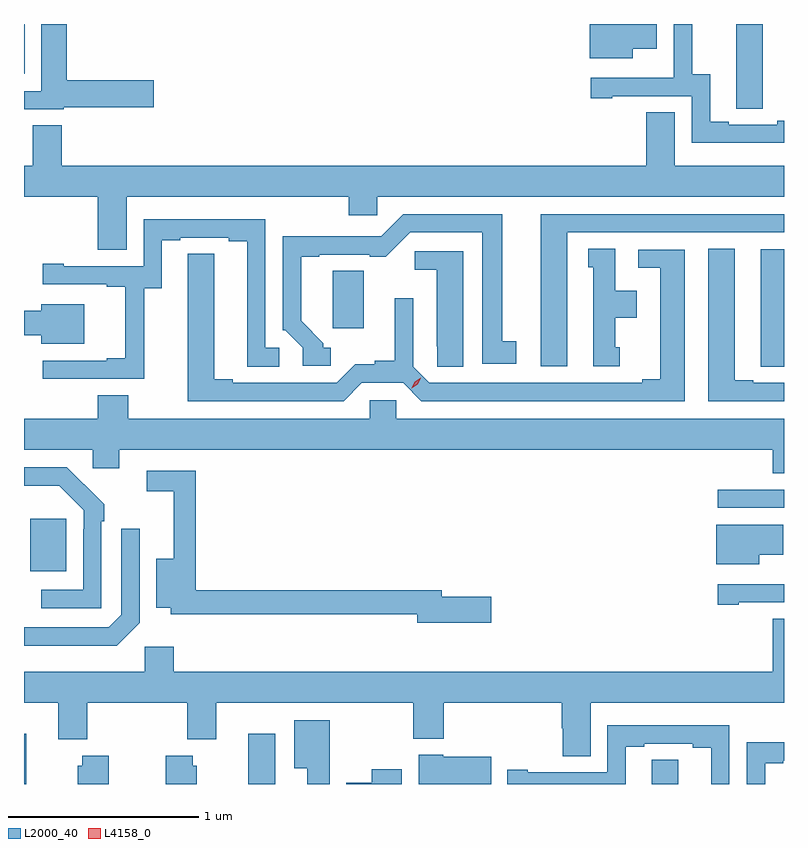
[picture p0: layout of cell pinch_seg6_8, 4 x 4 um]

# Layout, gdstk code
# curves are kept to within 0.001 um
import gdstk
lib = gdstk.Library(unit=1e-6, precision=1e-09)
def R(c, l, rs):  # rectangles x0, y0, x1, y1
    for r in rs: c.add(gdstk.rectangle(r[:2], r[2:], *l))
def P(c, l, *ps):  # polygons
    for p in ps: c.add(gdstk.Polygon(p, *l))
L2000_40 = (2000, 40)
L4158_0 = (4158, 0)

pinch_seg6_8 = lib.new_cell('pinch_seg6_8')
R(pinch_seg6_8, L2000_40, [(1101.445,966.889,1101.457,967.153), (1102.625,966.889,1102.768,967.153), (1101.479,968.009,1101.667,968.284), (1105.095,968.343,1105.445,968.439), (1101.445,970.628,1101.448,970.889)])
P(pinch_seg6_8, L2000_40, [(1105.333,970.889),(1105.193,970.889),(1105.193,970.552),(1105.194,970.552),(1105.194,970.444),(1105.333,970.444)],
  [(1104.649,970.76),(1104.775,970.76),(1104.775,970.889),(1104.422,970.889),(1104.422,970.709),(1104.649,970.709)],
  [(1101.654,970.45),(1102.129,970.45),(1102.129,970.592),(1101.671,970.592),(1101.671,970.889),(1101.536,970.889),(1101.536,970.536),(1101.445,970.536),(1101.445,970.44),(1101.654,970.44)],
  [(1105.445,970.379),(1105.409,970.379),(1105.409,970.359),(1105.153,970.359),(1105.153,970.374),(1105.057,970.374),(1105.057,970.625),(1104.963,970.625),(1104.963,970.889),(1104.864,970.889),(1104.864,970.606),(1104.863,970.606),(1104.863,970.605),(1104.429,970.605),(1104.429,970.497),(1104.541,970.497),(1104.541,970.509),(1104.96,970.509),(1104.96,970.263),(1105.445,970.263)],
  [(1101.491,970.355),(1101.491,970.144),(1101.445,970.144),(1101.445,969.98),(1101.833,969.98),(1101.833,969.7),(1101.985,969.7),(1101.985,969.98),(1103.153,969.98),(1103.153,969.882),(1103.304,969.882),(1103.304,969.98),(1105.445,969.98),(1105.445,970.144),(1104.871,970.144),(1104.871,970.424),(1104.719,970.424),(1104.719,970.144),(1101.644,970.144),(1101.644,970.355)],
  [(1104.304,969.792),(1105.445,969.792),(1105.445,969.888),(1104.164,969.888),(1104.164,969.087),(1104.304,969.087)],
  [(1103.059,969.186),(1103.02,969.186),(1103.02,969.21),(1102.903,969.326),(1102.903,969.663),(1102.999,969.663),(1102.999,969.675),(1103.264,969.675),(1103.264,969.664),(1103.35,969.664),(1103.478,969.792),(1103.858,969.792),(1103.858,969.102),(1104.037,969.102),(1104.037,969.218),(1103.962,969.218),(1103.962,969.888),(1103.442,969.888),(1103.325,969.771),(1103.069,969.771),(1103.069,969.773),(1102.806,969.773),(1102.806,969.276),(1102.821,969.276),(1102.911,969.186),(1102.911,969.09),(1103.059,969.09)],
  [(1102.077,969.499),(1102.171,969.499),(1102.171,969.75),(1102.267,969.75),(1102.267,969.765),(1102.523,969.765),(1102.523,969.745),(1102.619,969.745),(1102.619,969.085),(1102.789,969.085),(1102.789,969.186),(1102.716,969.186),(1102.716,969.861),(1102.074,969.861),(1102.074,969.615),(1101.655,969.615),(1101.655,969.628),(1101.543,969.628),(1101.543,969.519),(1101.881,969.519),(1101.881,969.507),(1101.977,969.507),(1101.977,969.13),(1101.881,969.13),(1101.881,969.117),(1101.543,969.117),(1101.543,969.021),(1102.077,969.021)],
  [(1105.445,969),(1105.282,969),(1105.282,969.015),(1105.186,969.015),(1105.186,969.707),(1105.046,969.707),(1105.046,968.904),(1105.445,968.904)],
  [(1104.58,969.189),(1104.556,969.189),(1104.556,969.344),(1104.67,969.344),(1104.67,969.484),(1104.556,969.484),(1104.556,969.707),(1104.416,969.707),(1104.416,969.609),(1104.44,969.609),(1104.44,969.087),(1104.58,969.087)],
  [(1105.445,969.703),(1105.322,969.703),(1105.322,969.193),(1105.323,969.193),(1105.323,969.085),(1105.445,969.085)],
  [(1103.223,969),(1103.441,969),(1103.537,968.904),(1104.922,968.904),(1104.922,969.702),(1104.678,969.702),(1104.678,969.606),(1104.794,969.606),(1104.794,969.02),(1104.698,969.02),(1104.698,969),(1103.577,969),(1103.493,969.084),(1103.493,969.445),(1103.396,969.445),(1103.396,969.116),(1103.292,969.116),(1103.292,969.098),(1103.189,969.098),(1103.091,969),(1102.543,969),(1102.543,969.02),(1102.447,969.02),(1102.447,969.68),(1102.308,969.68),(1102.307,968.904),(1103.127,968.904)],
  [(1103.758,969.693),(1103.502,969.693),(1103.502,969.596),(1103.618,969.596),(1103.618,969.193),(1103.619,969.193),(1103.619,969.085),(1103.758,969.085)],
  [(1103.233,969.432),(1103.232,969.432),(1103.232,969.59),(1103.069,969.59),(1103.069,969.288),(1103.233,969.288)],
  [(1101.763,969.415),(1101.536,969.415),(1101.536,969.38),(1101.445,969.38),(1101.445,969.252),(1101.536,969.252),(1101.536,969.206),(1101.763,969.206)],
  [(1105.445,968.812),(1103.403,968.812),(1103.403,968.91),(1103.265,968.91),(1103.265,968.812),(1101.993,968.812),(1101.993,968.936),(1101.833,968.936),(1101.833,968.812),(1101.445,968.812),(1101.445,968.648),(1101.807,968.648),(1101.807,968.55),(1101.946,968.55),(1101.946,968.648),(1105.385,968.648),(1105.385,968.524),(1105.445,968.524)],
  [(1101.852,968.273),(1101.867,968.273),(1101.867,968.361),(1101.67,968.556),(1101.445,968.556),(1101.445,968.46),(1101.631,968.46),(1101.759,968.331),(1101.759,968.231),(1101.756,968.231),(1101.756,967.911),(1101.537,967.911),(1101.537,967.815),(1101.852,967.815)],
  [(1103.905,967.874),(1103.644,967.874),(1103.644,967.91),(1102.349,967.91),(1102.349,968.538),(1102.092,968.538),(1102.092,968.43),(1102.232,968.43),(1102.232,968.074),(1102.142,968.074),(1102.142,967.817),(1102.218,967.817),(1102.218,967.782),(1103.516,967.782),(1103.516,967.739),(1103.905,967.739)],
  [(1105.315,968.096),(1105.441,968.096),(1105.441,968.254),(1105.088,968.254),(1105.088,968.045),(1105.315,968.045)],
  [(1102.053,967.737),(1102.053,968.233),(1101.957,968.233),(1101.957,967.779),(1101.891,967.713),(1101.445,967.713),(1101.445,967.616),(1101.932,967.616)],
  [(1105.207,967.845),(1105.445,967.845),(1105.445,967.941),(1105.095,967.941),(1105.095,967.833),(1105.207,967.833)],
  [(1104.427,967.316),(1105.445,967.316),(1105.445,967.76),(1105.385,967.76),(1105.385,967.48),(1102.232,967.48),(1102.232,967.612),(1102.08,967.612),(1102.08,967.48),(1101.445,967.48),(1101.445,967.316),(1101.626,967.316),(1101.626,967.124),(1101.779,967.124),(1101.779,967.316),(1102.304,967.316),(1102.304,967.124),(1102.456,967.124),(1102.456,967.316),(1103.494,967.316),(1103.494,967.127),(1103.654,967.127),(1103.654,967.316),(1104.275,967.316),(1104.275,967.182),(1104.28,967.182),(1104.28,967.036),(1104.427,967.036)],
  [(1103.053,967.225),(1102.868,967.225),(1102.868,966.971),(1102.937,966.971),(1102.937,966.889),(1103.053,966.889)],
  [(1104.613,967.086),(1104.709,967.086),(1104.709,967.101),(1104.965,967.101),(1104.965,967.081),(1105.061,967.081),(1105.061,966.889),(1105.158,966.889),(1105.158,967.197),(1104.516,967.197),(1104.516,966.951),(1104.097,966.951),(1104.097,966.964),(1103.989,966.964),(1103.989,966.889),(1104.613,966.889)],
  [(1105.345,966.999),(1105.441,966.999),(1105.441,967.011),(1105.445,967.011),(1105.445,967.109),(1105.248,967.109),(1105.248,966.889),(1105.345,966.889)],
  [(1103.904,967.033),(1103.652,967.033),(1103.652,967.042),(1103.522,967.042),(1103.522,966.889),(1103.904,966.889)],
  [(1101.891,967.039),(1101.751,967.039),(1101.751,966.985),(1101.728,966.985),(1101.728,966.889),(1101.891,966.889)],
  [(1102.354,966.985),(1102.332,966.985),(1102.332,967.039),(1102.192,967.039),(1102.192,966.889),(1102.354,966.889)],
  [(1104.889,967.016),(1104.75,967.016),(1104.75,966.908),(1104.749,966.908),(1104.749,966.889),(1104.889,966.889)],
  [(1103.434,966.967),(1103.276,966.967),(1103.276,966.895),(1103.141,966.895),(1103.141,966.889),(1103.434,966.889)])
P(pinch_seg6_8, L4158_0, [(1103.487,968.971),(1103.487,968.971),(1103.502,969.005),(1103.533,969.027),(1103.533,969.027),(1103.533,969.026),(1103.518,968.993),(1103.487,968.971)])

lib.write_gds('pinch_seg6_8.gds')
